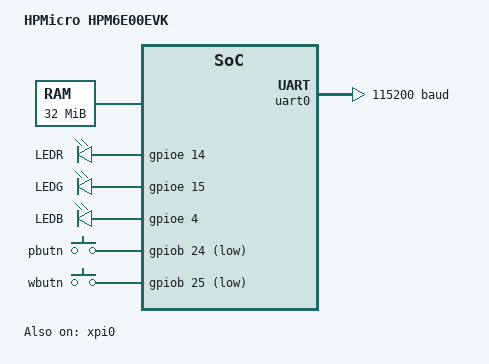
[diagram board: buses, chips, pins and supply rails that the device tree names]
/*
* Copyright 2025-2026 HPMicro
* SPDX-License-Identifier: Apache-2.0
*/

/dts-v1/;

#include <hpmicro/HPM6E00/hpm6e80.dtsi>
#include "hpm6e00evk-pinctrl.dtsi"
#include <zephyr/dt-bindings/input/input-event-codes.h>

/ {
	model = "HPMicro HPM6E00EVK";
	compatible = "HPMicro,hpm6e00evk";
	aliases {
		led0 = &led_r;
		led1 = &led_g;
		led2 = &led_b;
		sw0 = &pbutn;
		eeprom-0 = &eeprom;
	};

	chosen {
		zephyr,console = &uart0;
		zephyr,shell-uart = &uart0;
		zephyr,sram = &sram;
		zephyr,flash = &flash0;
		zephyr,itcm = &ilm;
		zephyr,dtcm = &dlm;
		zephyr,code-partition = &slot0_partition;
		zephyr,flash-controller = &xpi0;
	};

	dram: memory@40000000 {
		device_type = "memory";
		reg = <0x40000000 DT_SIZE_M(32)>;
	};

	leds {
		compatible = "gpio-leds";
		led_r: led_r {
			gpios = <&gpioe 14 (GPIO_PULL_DOWN | GPIO_ACTIVE_HIGH)>;
			label = "LEDR";
		};

		led_g: led_g {
			gpios = <&gpioe 15 (GPIO_PULL_DOWN | GPIO_ACTIVE_HIGH)>;
			label = "LEDG";
		};

		led_b: led_b {
			gpios = <&gpioe 4 (GPIO_PULL_DOWN | GPIO_ACTIVE_HIGH)>;
			label = "LEDB";
		};
	};

	gpio_keys {
		compatible = "gpio-keys";
		pbutn: pbutn {
			gpios = <&gpiob 24 (GPIO_PULL_UP | GPIO_ACTIVE_LOW)>;
			zephyr,code = <INPUT_KEY_0>;
		};

		wbutn: wbutn {
			gpios = <&gpiob 25 (GPIO_PULL_UP | GPIO_ACTIVE_LOW)>;
			zephyr,code = <INPUT_KEY_1>;
		};
	};
};

&uart0 {
	status = "okay";
	current-speed = <115200>;
	pinctrl-0 = <&pinmux_uart0>;
	pinctrl-names = "default";
	uart-idle-trgm-reg = <0xF022C000>;
	uart-idle-trgm-pin = <115>;
	uart-idle-trgm-input-src = <0x0B>;
	uart-idle-trgm-output-gptmr-in = <0x38>;
	uart-idle-trgm-output-gptmr-sync = <0x37>;
	uart-idle-gptmr-reg = <0xF3010000>;
	uart-idle-gptmr-clock-name = <18743311>;
	dmas = <&hdma 0 8>, <&hdma 1 9>;
	dma-names = "rx", "tx";
};

&gpioa {
	pinctrl-0 = <&pinmux_gpioa>;
	pinctrl-names = "default";
	status = "okay";
};

&gpiob {
	pinctrl-0 = <&pinmux_gpiob>;
	pinctrl-names = "default";
	status = "okay";
};

&gpioe {
	status = "okay";
};

&gpiof {
	pinctrl-0 = <&pinmux_gpiof>;
	pinctrl-names = "default";
	status = "okay";
};

&gpioz {
	pinctrl-0 = <&pinmux_gpioz>;
	pinctrl-names = "default";
	status = "okay";
};

&gpioy {
	pinctrl-0 = <&pinmux_gpioy>;
	pinctrl-names = "default";
	status = "okay";
};

&uart1 {
	status = "disabled";
	current-speed = <115200>;
	pinctrl-0 = <&pinmux_uart1>;
	pinctrl-names = "default";
};

&i2c1 {
	status = "disabled";
	pinctrl-0 = <&pinmux_esc_eeprom_as_i2c>;
	pinctrl-names = "default";
	eeprom: eeprom@50 {
		compatible = "atmel,at24";
		status = "disabled";
		reg = <0x50>;
		size = <16384>;
		address-width = <16>;
		timeout = <25>;
		pagesize = <64>;
	};
};

&spi7 {
	status = "disabled";
	pinctrl-0 = <&pinmux_spi7>;
	pinctrl-names = "default";
	cs-gpios = <&gpiof 27 GPIO_ACTIVE_LOW>;
	/* HDMA channels 0 and 1, muxed to SPI7 RX and TX */
	dmas = <&hdma 0 34>, <&hdma 1 35>;
	dma-names = "rx", "tx";
};

&hdma {
	status = "okay";
};

&xdma {
	status = "okay";
};

&xpi0 {
	status = "okay";
	flash0: flash@0 {
		compatible = "hpmicro,hpmicro-flash", "soc-nv-flash";
		reg = <0x80000000 DT_SIZE_M(16)>;
		status = "okay";
		erase-block-size = <4096>;
		write-block-size = <1>;
		nor-cfg-opt-hdr = <0xfcf90001>;
		nor-cfg-opt-opt0 = <0x07>;
		nor-cfg-opt-opt1 = <0x00>;
		partitions {
			compatible = "fixed-partitions";
			#address-cells = <1>;
			#size-cells = <1>;
			boot_partition: partition@0 {
				label = "mcuboot";
				reg = <0x3000 0x40000>;
			};

			slot0_partition: partition@43000 {
				label = "image-0";
				reg = <0x43000 DT_SIZE_K(1536)>;
			};

			slot1_partition: partition@1c3000 {
				label = "image-1";
				reg = <0x1c3000 DT_SIZE_K(1536)>;
			};

			scratch_partition: partition@343000 {
				label = "image-scratch";
				reg = <0x343000 DT_SIZE_K(128)>;
			};

			storage_partition: partition@363000 {
				label = "storage";
				reg = <0x363000 DT_SIZE_K(128)>;
			};
		};
	};
};

&usb0 {
	pinctrl-0 = <&pinmux_usb0>;
	pinctrl-names = "default";
};

zephyr_udc0: &usb0 {
	compatible = "hpmicro,hpm-udc";
	status = "disabled";
	power-active-high;
	power-stable-delay-ms = <100>;
};

&eth0 {
	pinctrl-0 = <&pinmux_eth_rgmii>;
	pinctrl-names = "default";
	phy-addr = <2>; /* rtl8211e */
		reset-gpios = <&gpioa 14 GPIO_ACTIVE_LOW>;
	status = "disabled";
};

&mcan4 {
	status = "disabled";
	pinctrl-0 = <&pinmux_mcan4>;
	pinctrl-names = "default";
	can-transceiver {
		max-bitrate = <5000000>;
	};
};

&adc0 {
	vref-mv = <3300>;
};

&adc1 {
	vref-mv = <3300>;
};

&adc2 {
	vref-mv = <3300>;
};

&adc3 {
	vref-mv = <3300>;
};

&rng0 {
	status = "disabled";
};

&gpt2 {
	status = "disabled";
};

&ewdg0 {
	status = "disabled";
};

&hwinfo0 {
	status = "disabled";
};

&pll0 {
	status = "okay";
};

&clk_cpu0 {
	status = "okay";
};

&clk_cpu1 {
	status = "okay";
};
